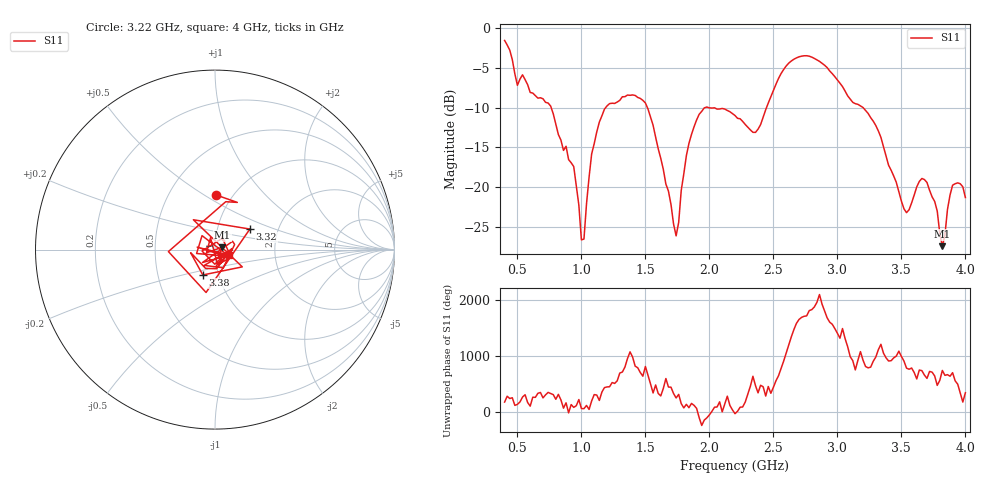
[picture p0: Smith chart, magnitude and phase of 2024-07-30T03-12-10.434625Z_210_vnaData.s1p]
!Created with skrf (http://scikit-rf.org).
# Hz S RI R 50.0
!freq ReS11 ImS11
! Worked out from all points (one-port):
!   181 points, 400 MHz to 4 GHz, reference 50 ohm
!   lowest |S11| = -27.5 dB at 3.82 GHz (marker M1), VSWR 1.09, Z = 54.2 + j1.43 ohm
!   |S11| at or under -10 dB: 1.516 GHz to 1.966 GHz (449.8 MHz wide, 25.8 % of centre); 1.995 GHz to 2.446 GHz (451.5 MHz wide, 20.3 % of centre); 3.201 GHz to end of sweep (the widest 3 of 4)
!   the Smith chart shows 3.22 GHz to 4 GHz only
!   S11 on the Smith chart (normalised r, x): 3.22 GHz: 0.84, +0.56; 3.32 GHz: 1.43, +0.35; 3.38 GHz: 0.84, -0.24; 4 GHz: 1.17, -0.07
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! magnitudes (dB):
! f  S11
! 400 MHz  -1.5
! 500 MHz  -7.2
! 760 MHz  -9.8
! 860 MHz  -15.4
! 940 MHz  -17.4
! 1 GHz  -26.7
! 1.02 GHz  -26.6
! 1.08 GHz  -15.8
! 1.12 GHz  -13.1
! 1.3 GHz  -9.1
! 1.5 GHz  -9.4
! 1.74 GHz  -26.2
! 1.76 GHz  -24.5
! 1.82 GHz  -16.1
! 1.92 GHz  -10.8
! 2.2 GHz  -11.0
! 2.36 GHz  -13.1
! 2.66 GHz  -3.9
! 3.1 GHz  -8.9
! 3.22 GHz  -10.3
! 3.32 GHz  -12.9
! 3.38 GHz  -16.1
! 3.56 GHz  -22.9
! 3.68 GHz  -19.1
! 3.76 GHz  -21.8
! 3.82 GHz  -27.5
! 3.9 GHz  -19.8
! 4 GHz  -21.3
